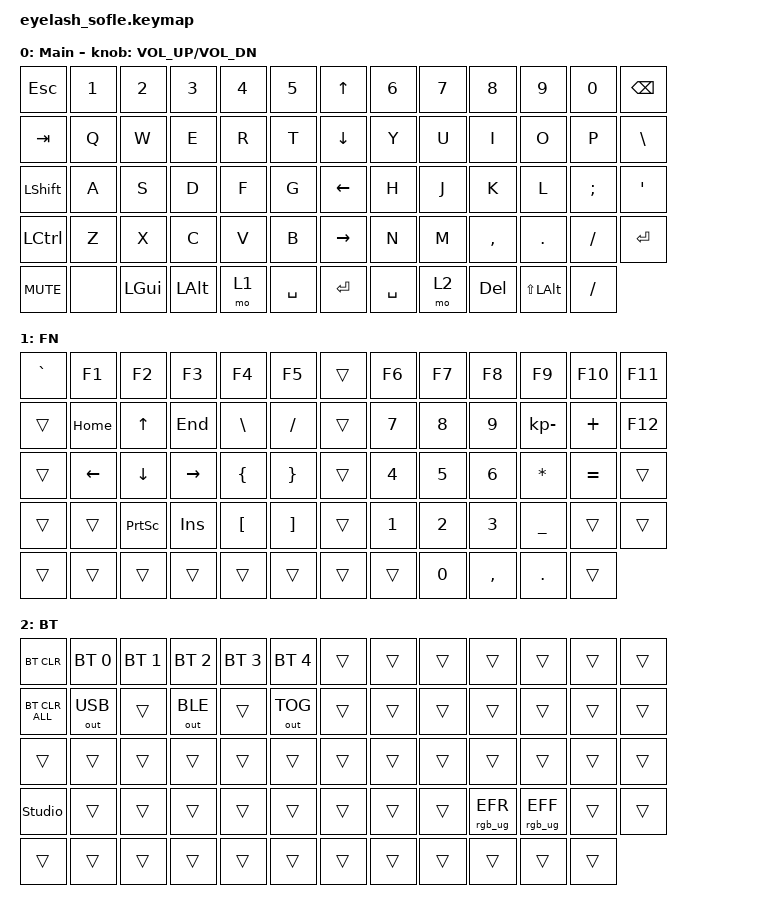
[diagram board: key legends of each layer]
#define ZMK_POINTING_DEFAULT_MOVE_VAL 1200  // 600
#define ZMK_POINTING_DEFAULT_SCRL_VAL 25   // 10

#include <input/processors.dtsi>
#include <zephyr/dt-bindings/input/input-event-codes.h>
#include <behaviors.dtsi>
#include <dt-bindings/zmk/bt.h>
#include <dt-bindings/zmk/keys.h>
#include <dt-bindings/zmk/outputs.h>
#include <dt-bindings/zmk/pointing.h>
#include <dt-bindings/zmk/rgb.h>

&mmv_input_listener { input-processors = <&zip_xy_scaler 2 1>; };

&msc_input_listener { input-processors = <&zip_scroll_scaler 2 1>; };

&msc {
    acceleration-exponent = <1>;      // 0
    time-to-max-speed-ms = <100>;       // 300
    delay-ms = <0>;                   // 0
};

&mmv {
    time-to-max-speed-ms = <500>;
    acceleration-exponent = <1>;
    trigger-period-ms = <16>;
};

&soft_off { hold-time-ms = <2000>; };

/ {
    scroll_encoder: scroll_encoder {
        compatible = "zmk,behavior-sensor-rotate";
        #sensor-binding-cells = <0>;
        bindings = <&msc SCRL_DOWN>, <&msc SCRL_UP>;

        tap-ms = <100>;
    };

    behaviors {
    };

    combos {
        compatible = "zmk,combos";

        softoff {
            bindings = <&soft_off>;
            key-positions = <14 28 40>;
        };
    };

    macros {
        SHIFT_MCLK: SHIFT_MCLK {
            compatible = "zmk,behavior-macro";
            #binding-cells = <0>;
            bindings =
                <&macro_press>,
                <&kp LEFT_SHIFT>,
                <&macro_press>,
                <&mkp MB3>,
                <&macro_pause_for_release>,
                <&macro_release>,
                <&kp LEFT_SHIFT &mkp MB3>;

            label = "SHIFT_MCLK";
        };
    };

    keymap {
        compatible = "zmk,keymap";

        layer0 {
            bindings = <
&kp ESC         &kp N1  &kp N2        &kp N3        &kp N4  &kp N5       &kp UP_ARROW     &kp N6     &kp N7  &kp N8      &kp N9            &kp N0    &kp BACKSPACE
&kp TAB         &kp Q   &kp W         &kp E         &kp R   &kp T        &kp DOWN_ARROW   &kp Y      &kp U   &kp I       &kp O             &kp P     &kp BSLH
&kp LEFT_SHIFT  &kp A   &kp S         &kp D         &kp F   &kp G        &kp LEFT_ARROW   &kp H      &kp J   &kp K       &kp L             &kp SEMI  &kp APOS
&kp LCTRL       &kp Z   &kp X         &kp C         &kp V   &kp B        &kp RIGHT_ARROW  &kp N      &kp M   &kp COMMA   &kp DOT           &kp FSLH  &kp ENTER
&kp C_MUTE      &none   &kp LEFT_GUI  &kp LEFT_ALT  &mo 1   &kp SPACE    &kp ENTER        &kp SPACE  &mo 2   &kp DELETE  &kp LS(LEFT_ALT)  &kp FSLH
            >;

            sensor-bindings = <&inc_dec_kp C_VOLUME_UP C_VOL_DN>;
            display-name = "Main";
        };

        layer_1 {
            bindings = <
&kp GRAVE  &kp F1    &kp F2           &kp F3     &kp F4            &kp F5               &trans  &kp F6  &kp F7  &kp F8     &kp F9        &kp F10    &kp F11
&trans     &kp HOME  &kp UP           &kp END    &kp BACKSLASH     &kp SLASH            &trans  &kp N7  &kp N8  &kp N9     &kp KP_MINUS  &kp PLUS   &kp F12
&trans     &kp LEFT  &kp DOWN         &kp RIGHT  &kp LEFT_BRACE    &kp RIGHT_BRACE      &trans  &kp N4  &kp N5  &kp N6     &kp STAR      &kp EQUAL  &trans
&trans     &trans    &kp PRINTSCREEN  &kp INS    &kp LEFT_BRACKET  &kp RIGHT_BRACKET    &trans  &kp N1  &kp N2  &kp N3     &kp UNDER     &trans     &trans
&trans     &trans    &trans           &trans     &trans            &trans               &trans  &trans  &kp N0  &kp COMMA  &kp DOT       &trans
            >;

            label = "FN";
        };

        layer_2 {
            bindings = <
&bt BT_CLR      &bt BT_SEL 0  &bt BT_SEL 1  &bt BT_SEL 2  &bt BT_SEL 3  &bt BT_SEL 4    &trans  &trans  &trans  &trans           &trans           &trans  &trans
&bt BT_CLR_ALL  &out OUT_USB  &trans        &out OUT_BLE  &trans        &out OUT_TOG    &trans  &trans  &trans  &trans           &trans           &trans  &trans
&trans          &trans        &trans        &trans        &trans        &trans          &trans  &trans  &trans  &trans           &trans           &trans  &trans
&studio_unlock  &trans        &trans        &trans        &trans        &trans          &trans  &trans  &trans  &rgb_ug RGB_EFR  &rgb_ug RGB_EFF  &trans  &trans
&trans          &trans        &trans        &trans        &trans        &trans          &trans  &trans  &trans  &trans           &trans           &trans
            >;

            label = "BT";
        };
    };
};
